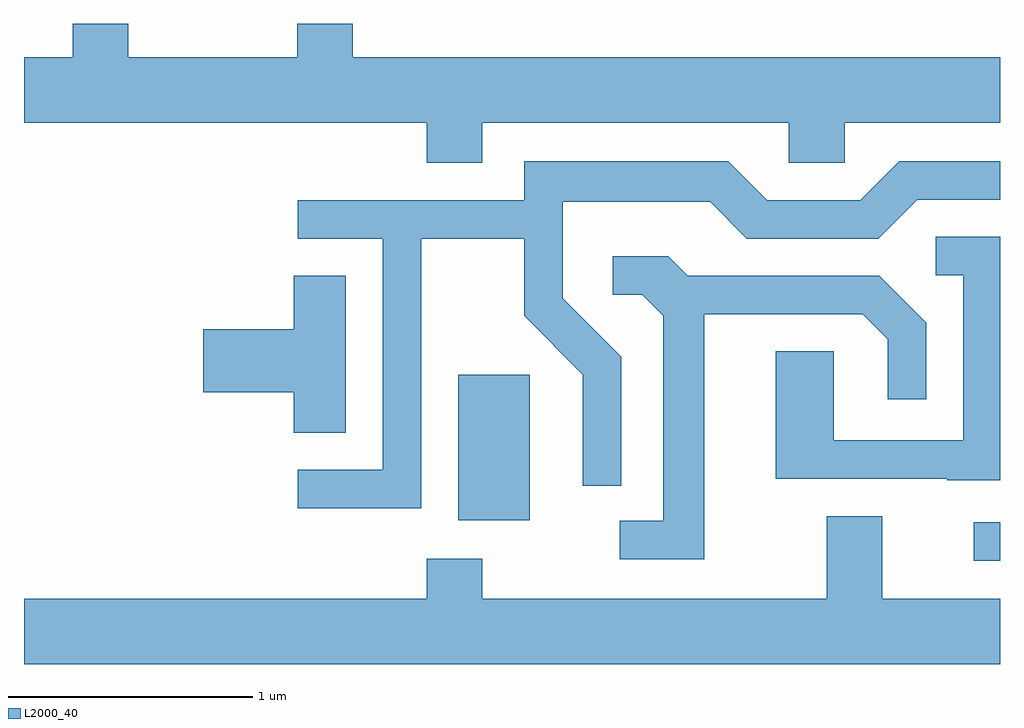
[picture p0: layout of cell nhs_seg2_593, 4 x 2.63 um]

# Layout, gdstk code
import gdstk
lib = gdstk.Library(unit=1e-6, precision=1e-09)
def R(c, l, rs):  # rectangles x0, y0, x1, y1
    for r in rs: c.add(gdstk.rectangle(r[:2], r[2:], *l))
def P(c, l, *ps):  # polygons
    for p in ps: c.add(gdstk.Polygon(p, *l))
L2000_40 = (2000, 40)

nhs_seg2_593 = lib.new_cell('nhs_seg2_593')
R(nhs_seg2_593, L2000_40, [(205.503,1077.601,205.611,1077.759), (203.391,1077.766,203.684,1078.364)])
P(nhs_seg2_593, L2000_40, [(203.489,1079.396),(204.746,1079.396),(204.746,1079.231),(204.974,1079.231),(204.974,1079.396),(205.611,1079.396),(205.611,1079.664),(202.959,1079.664),(202.959,1079.802),(202.731,1079.802),(202.731,1079.664),(202.039,1079.664),(202.039,1079.802),(201.811,1079.802),(201.811,1079.664),(201.611,1079.664),(201.611,1079.396),(203.261,1079.396),(203.261,1079.231),(203.489,1079.231)],
  [(203.239,1078.921),(203.661,1078.921),(203.661,1078.604),(203.901,1078.364),(203.901,1077.908),(204.059,1077.908),(204.059,1078.437),(203.819,1078.677),(203.819,1079.071),(204.424,1079.071),(204.574,1078.921),(205.112,1078.921),(205.272,1079.081),(205.611,1079.081),(205.611,1079.239),(205.199,1079.239),(205.039,1079.079),(204.657,1079.079),(204.497,1079.239),(203.661,1079.239),(203.661,1079.079),(202.733,1079.079),(202.733,1078.921),(203.081,1078.921),(203.081,1077.974),(202.733,1077.974),(202.733,1077.816),(203.239,1077.816)],
  [(205.611,1078.929),(205.348,1078.929),(205.348,1078.771),(205.461,1078.771),(205.461,1078.094),(204.929,1078.094),(204.929,1078.459),(204.691,1078.459),(204.691,1077.936),(205.395,1077.936),(205.395,1077.931),(205.611,1077.931)],
  [(204.399,1078.611),(205.049,1078.611),(205.151,1078.509),(205.151,1078.263),(205.309,1078.263),(205.309,1078.577),(205.117,1078.769),(204.332,1078.769),(204.252,1078.849),(204.023,1078.849),(204.023,1078.691),(204.144,1078.691),(204.231,1078.604),(204.231,1077.764),(204.053,1077.764),(204.053,1077.606),(204.399,1077.606)],
  [(202.929,1078.769),(202.716,1078.769),(202.716,1078.549),(202.346,1078.549),(202.346,1078.291),(202.716,1078.291),(202.716,1078.126),(202.929,1078.126)],
  [(205.611,1077.444),(205.129,1077.444),(205.129,1077.784),(204.901,1077.784),(204.901,1077.444),(203.489,1077.444),(203.489,1077.609),(203.261,1077.609),(203.261,1077.444),(201.611,1077.444),(201.611,1077.176),(205.611,1077.176)])

lib.write_gds('nhs_seg2_593.gds')
